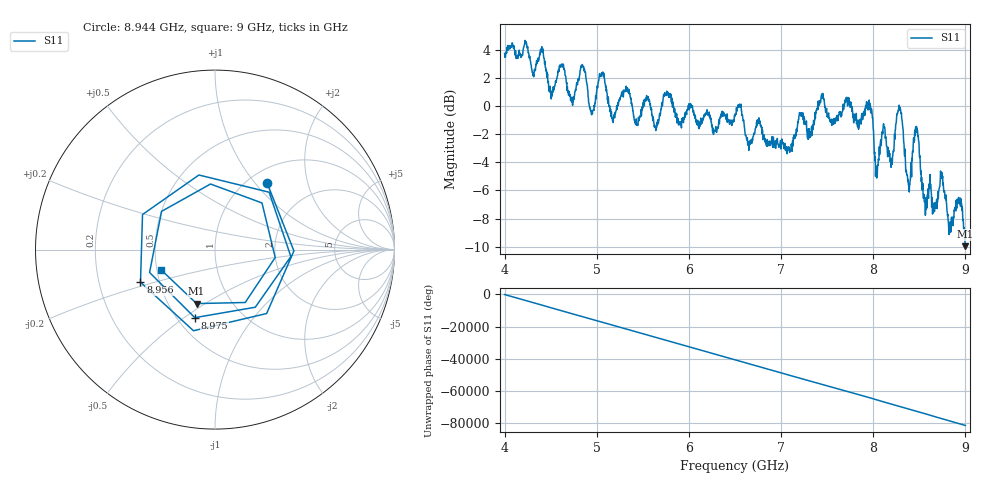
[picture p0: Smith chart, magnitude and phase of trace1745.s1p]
! Created with skrf 1.8.0 (http://scikit-rf.org).
# Hz S RI R 50.0
!freq ReS11 ImS11
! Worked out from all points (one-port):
!   1601 points, 4 GHz to 9 GHz, reference 50 ohm
!   lowest |S11| = -10.0 dB at 8.997 GHz (marker M1), VSWR 1.93, Z = 34.4 - j23 ohm
!   |S11| at or under -10 dB: nowhere
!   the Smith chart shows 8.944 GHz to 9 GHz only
!   S11 on the Smith chart (normalised r, x): 8.944 GHz: 1.21, +1.16; 8.956 GHz: 0.39, -0.18; 8.975 GHz: 0.61, -0.55; 9 GHz: 0.53, -0.13
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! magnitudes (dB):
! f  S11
! 4 GHz  3.7
! 4.406 GHz  4.2
! 4.506 GHz  0.5
! 4.625 GHz  2.8
! 4.734 GHz  0.3
! 4.853 GHz  2.8
! 4.944 GHz  -0.6
! 5.05 GHz  2.2
! 5.169 GHz  -0.8
! 5.25 GHz  0.5
! 5.875 GHz  -0.9
! 6.5 GHz  -0.7
! 7.125 GHz  -2.5
! 7.438 GHz  0.7
! 7.75 GHz  -0.1
! 7.966 GHz  -0.2
! 8.038 GHz  -5.1
! 8.112 GHz  -1.3
! 8.2 GHz  -3.9
! 8.288 GHz  -0.3
! 8.375 GHz  -5.4
! 8.469 GHz  -1.5
! 8.566 GHz  -7.8
! 8.944 GHz  -6.5
! 8.956 GHz  -6.9
! 8.975 GHz  -8.1
! 8.997 GHz  -10.0
! 9 GHz  -9.9
